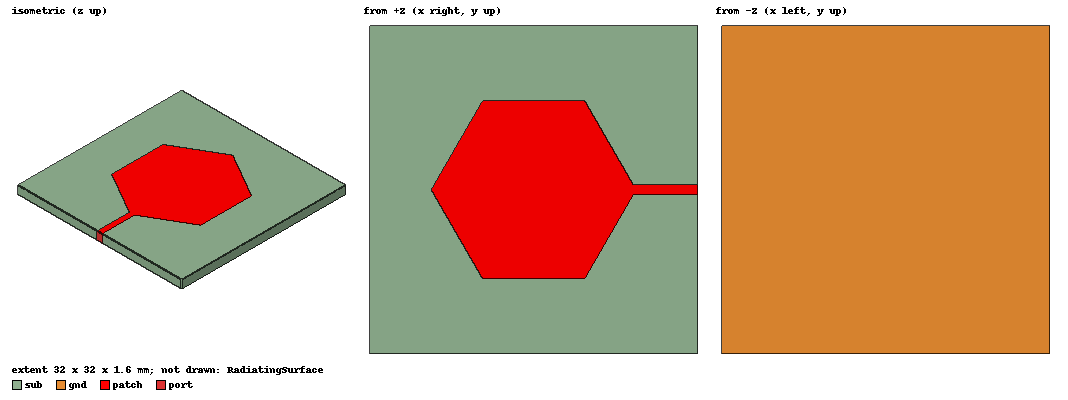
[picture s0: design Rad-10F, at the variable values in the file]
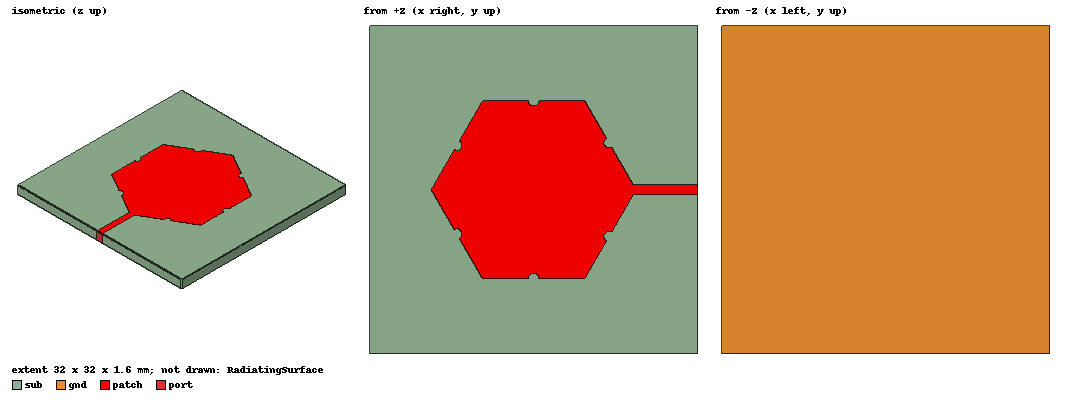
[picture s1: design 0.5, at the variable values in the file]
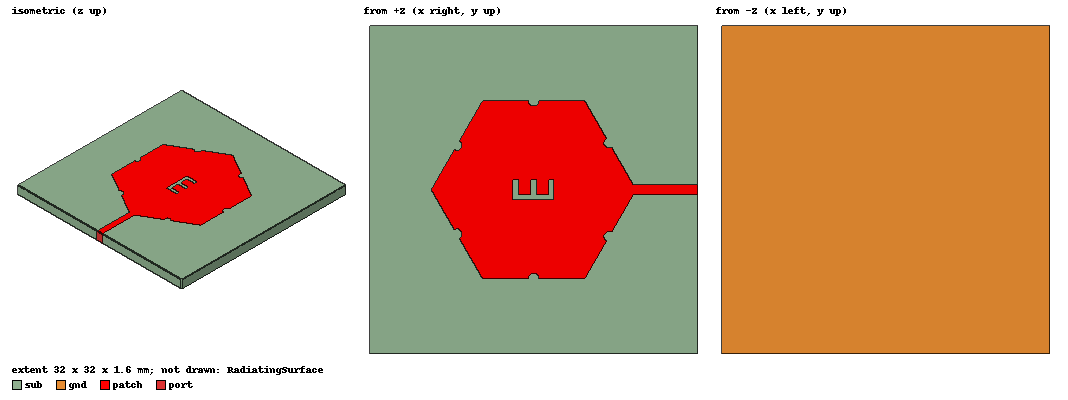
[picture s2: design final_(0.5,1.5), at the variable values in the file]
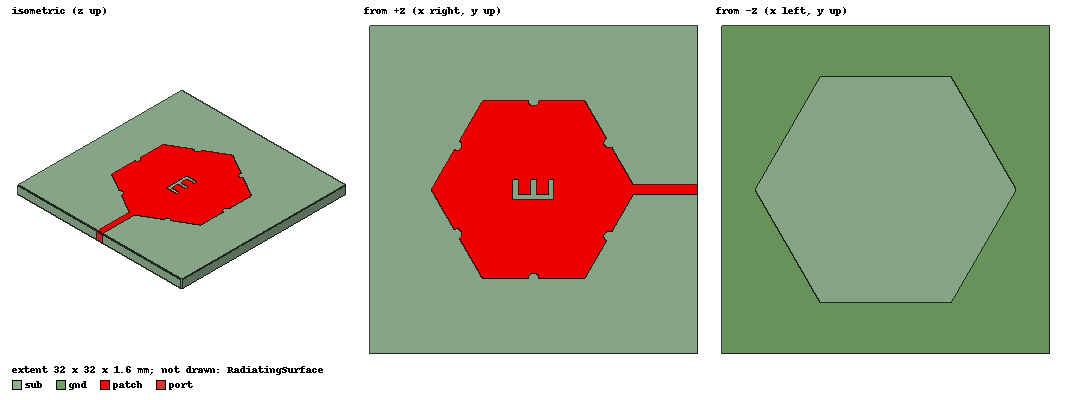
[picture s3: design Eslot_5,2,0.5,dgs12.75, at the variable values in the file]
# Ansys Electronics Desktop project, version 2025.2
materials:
  vacuum: permittivity=1
  FR4_epoxy: permittivity=4.4 dielectric_loss_tangent=0.02

design Rad-10F (HFSS, HFSS Modal Network, model units mm)
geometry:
  sub [FR4_epoxy] = box(corner=(0mm, 0mm, 0mm), size=(32mm, 32mm, 1.6mm))
  port = rectangle(corner=(32mm, 15.5mm, 1.6mm), y_size=1mm, z_size=-1.6mm)
  gnd = rectangle(corner=(0mm, 0mm, 0mm), x_size=32mm, y_size=32mm)
  patch = circle(normal=Z, centre=(16mm, 16mm, 1.6mm), radius=10mm, segments=6)
  feed = rectangle(corner=(32mm, 15.5mm, 1.6mm), x_size=-8mm, y_size=1mm)
  patch.unite(feed)
  RadiatingSurface [vacuum] = region(absolute_offset=20mm on all sides)
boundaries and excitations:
  PerfE3: Perfect E Objects=gnd
  PerfE4: Perfect E Objects=patch
  Open1: Radiation Objects=RadiatingSurface
  1: Lumped Port Objects=port LumpedPortType=Modal Modes{Mode1{IntLine{(32, 16, 0) -> (32, 16, 1.6)} CharImp=Zpi}} Impedance=50ohm
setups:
  Setup1: HfssDriven Frequency=5GHz MaxDeltaS=0.02 MaximumPasses=6 MinimumPasses=1 MinimumConvergedPasses=1 PercentRefinement=30 BasisOrder=1 PortAccuracy=2 DrivenSolverType="Direct Solver"
    sweep Sweep: 2.5GHz to 10GHz step 0.025GHz; Type=Fast SaveFields
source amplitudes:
  1:1: 1W 0deg
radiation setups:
  3D: Infinite Sphere Theta=0deg..180deg step 2deg Phi=-180deg..180deg step 2deg
  Elevation: Infinite Sphere Theta=-180deg..180deg step 1deg Phi=0deg..90deg step 90deg
  Azimuth: Infinite Sphere Theta=90deg..90deg step 0deg Phi=-180deg..180deg step 1deg
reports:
  S Parameter Plot1: dB(S(1,1)) vs Freq on Setup1 : Sweep; markers m1 at 4.375GHz, m2 at 7.1GHz, m3 at 8.35GHz, MY1 at y=-9.9994
  Gain Plot1: dB(GainTotal) vs Phi, Theta on Setup1 : Sweep, 3D [Freq=4.375GHz]
  Gain Plot2: dB(GainTotal) vs Phi, Theta on Setup1 : Sweep, 3D [Freq=7.1GHz]
  Gain Plot3: dB(GainTotal) vs Phi, Theta on Setup1 : Sweep, 3D [Freq=8.35GHz]

design 0.5 (HFSS, HFSS Modal Network, model units mm)
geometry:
  sub [FR4_epoxy] = box(corner=(0mm, 0mm, 0mm), size=(32mm, 32mm, 1.6mm))
  patch = circle(normal=Z, centre=(16mm, 16mm, 1.6mm), radius=10mm, segments=6)
  feed = rectangle(corner=(32mm, 15.5mm, 1.6mm), x_size=-8mm, y_size=1mm)
  patch.unite(feed)
  Circle1 = circle(normal=Z, centre=(16mm, 24.660254mm, 1.6mm), radius=0.5mm)
  Circle2 = circle(normal=Z, centre=(8.5mm, 20.330127mm, 1.6mm), radius=0.5mm)
  Circle3 = circle(normal=Z, centre=(8.5mm, 11.669873mm, 1.6mm), radius=0.5mm)
  Circle4 = circle(normal=Z, centre=(16mm, 7.339746mm, 1.6mm), radius=0.5mm)
  Circle5 = circle(normal=Z, centre=(23.355662mm, 11.419873mm, 1.6mm), radius=0.5mm)
  Circle6 = circle(normal=Z, centre=(23.355662mm, 20.580127mm, 1.6mm), radius=0.5mm)
  patch.subtract(Circle1..Circle6)
  gnd = rectangle(corner=(0mm, 0mm, 0mm), x_size=32mm, y_size=32mm)
  RadiatingSurface [vacuum] = region(absolute_offset=20mm on all sides)
  port = rectangle(corner=(32mm, 15.5mm, 1.6mm), y_size=1mm, z_size=-1.6mm)
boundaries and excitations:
  PerfE2: Perfect E Objects=patch
  PerfE3: Perfect E Objects=gnd
  Open1: Radiation Objects=RadiatingSurface
  1: Lumped Port Objects=port LumpedPortType=Modal Modes{Mode1{IntLine{(32, 16, 0) -> (32, 16, 1.6)} CharImp=Zpi}} Impedance=50ohm
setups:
  Setup1: HfssDriven Frequency=5GHz MaxDeltaS=0.02 MaximumPasses=6 MinimumPasses=1 MinimumConvergedPasses=1 PercentRefinement=30 BasisOrder=1 PortAccuracy=2 DrivenSolverType="Direct Solver"
    sweep Sweep: 2.5GHz to 10GHz step 0.025GHz; Type=Fast SaveFields
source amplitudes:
  1:1: 1W 0deg
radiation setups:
  3D: Infinite Sphere Theta=0deg..180deg step 2deg Phi=-180deg..180deg step 2deg
  Elevation: Infinite Sphere Theta=-180deg..180deg step 1deg Phi=0deg..90deg step 90deg
  Azimuth: Infinite Sphere Theta=90deg..90deg step 0deg Phi=-180deg..180deg step 1deg
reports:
  S Parameter Plot1: dB(S(1,1)) vs Freq on Setup1 : Sweep; markers m1 at 4.375GHz, m2 at 7.075GHz, m3 at 8.375GHz, MY1 at y=-9.99685
  Gain Plot1: dB(GainTotal) vs Phi, Theta on Setup1 : Sweep, 3D [Freq=4.375GHz]
  Gain Plot2: dB(GainTotal) vs Phi, Theta on Setup1 : Sweep, 3D [Freq=7.075GHz]
  Gain Plot3: dB(GainTotal) vs Phi, Theta on Setup1 : Sweep, 3D [Freq=8.375GHz]

design final_(0.5,1.5) (HFSS, HFSS Modal Network, model units mm)
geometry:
  patch = circle(normal=Z, centre=(16mm, 16mm, 1.6mm), radius=10mm, segments=6)
  feed = rectangle(corner=(32mm, 15.5mm, 1.6mm), x_size=-8mm, y_size=1mm)
  patch.unite(feed)
  Circle1 = circle(normal=Z, centre=(16mm, 24.660254mm, 1.6mm), radius=0.5mm)
  Circle2 = circle(normal=Z, centre=(8.5mm, 20.330127mm, 1.6mm), radius=0.5mm)
  Circle3 = circle(normal=Z, centre=(8.5mm, 11.669873mm, 1.6mm), radius=0.5mm)
  Circle4 = circle(normal=Z, centre=(16mm, 7.339746mm, 1.6mm), radius=0.5mm)
  Circle5 = circle(normal=Z, centre=(23.355662mm, 11.419873mm, 1.6mm), radius=0.5mm)
  Circle6 = circle(normal=Z, centre=(23.355662mm, 20.580127mm, 1.6mm), radius=0.5mm)
  patch.subtract(Circle1..Circle6)
  slot_rect1 = rectangle(corner=(14mm, 15mm, 1.6mm), x_size=4mm, y_size=0.5mm)
  slot_rect2 = rectangle(corner=(14mm, 15mm, 1.6mm), x_size=0.5mm, y_size=2mm)
  slot_rect3 = rectangle(corner=(15.75mm, 15mm, 1.6mm), x_size=0.5mm, y_size=2mm)
  slot_rect4 = rectangle(corner=(17.5mm, 15mm, 1.6mm), x_size=0.5mm, y_size=2mm)
  slot_rect1.unite(slot_rect2, slot_rect3, slot_rect4)
  patch.subtract(slot_rect1)
  gnd = rectangle(corner=(0mm, 0mm, 0mm), x_size=32mm, y_size=32mm)
  sub [FR4_epoxy] = box(corner=(0mm, 0mm, 0mm), size=(32mm, 32mm, 1.6mm))
  port = rectangle(corner=(32mm, 15.5mm, 1.6mm), y_size=1mm, z_size=-1.6mm)
  RadiatingSurface [vacuum] = region(absolute_offset=20mm on all sides)
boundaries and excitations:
  PerfE2: Perfect E Objects=patch
  PerfE3: Perfect E Objects=gnd
  Open1: Radiation Objects=RadiatingSurface
  1: Lumped Port Objects=port LumpedPortType=Modal Modes{Mode1{IntLine{(32, 16, 0) -> (32, 16, 1.6)} CharImp=Zpi}} Impedance=50ohm
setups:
  Setup1: HfssDriven Frequency=5GHz MaxDeltaS=0.02 MaximumPasses=6 MinimumPasses=1 MinimumConvergedPasses=1 PercentRefinement=30 BasisOrder=1 PortAccuracy=2 DrivenSolverType="Direct Solver"
    sweep Sweep: 2.5GHz to 10GHz step 0.025GHz; Type=Fast SaveFields
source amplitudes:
  1:1: 1W 0deg
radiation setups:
  3D: Infinite Sphere Theta=0deg..180deg step 2deg Phi=-180deg..180deg step 2deg
  Elevation: Infinite Sphere Theta=-180deg..180deg step 1deg Phi=0deg..90deg step 90deg
  Azimuth: Infinite Sphere Theta=90deg..90deg step 0deg Phi=-180deg..180deg step 1deg
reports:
  S Parameter Plot1: dB(S(1,1)) vs Freq on Setup1 : Sweep; markers m1 at 4.35GHz, m2 at 7.075GHz, m3 at 8.35GHz, MY1 at y=-10.0032
  Gain Plot1: dB(GainTotal) vs Phi, Theta on Setup1 : Sweep, 3D [Freq=4.35GHz]
  Gain Plot2: dB(GainTotal) vs Phi, Theta on Setup1 : Sweep, 3D [Freq=7.075GHz]
  Gain Plot3: dB(GainTotal) vs Phi, Theta on Setup1 : Sweep, 3D [Freq=8.35GHz]

design Eslot_5,2,0.5,dgs12.75 (HFSS, HFSS Modal Network, model units mm)
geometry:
  sub [FR4_epoxy] = box(corner=(0mm, 0mm, 0mm), size=(32mm, 32mm, 1.6mm))
  port = rectangle(corner=(32mm, 15.5mm, 1.6mm), y_size=1mm, z_size=-1.6mm)
  patch = circle(normal=Z, centre=(16mm, 16mm, 1.6mm), radius=10mm, segments=6)
  feed = rectangle(corner=(32mm, 15.5mm, 1.6mm), x_size=-8mm, y_size=1mm)
  patch.unite(feed)
  Circle1 = circle(normal=Z, centre=(16mm, 24.660254mm, 1.6mm), radius=0.5mm)
  Circle2 = circle(normal=Z, centre=(8.5mm, 20.330127mm, 1.6mm), radius=0.5mm)
  Circle3 = circle(normal=Z, centre=(8.5mm, 11.669873mm, 1.6mm), radius=0.5mm)
  Circle4 = circle(normal=Z, centre=(16mm, 7.339746mm, 1.6mm), radius=0.5mm)
  Circle5 = circle(normal=Z, centre=(23.355662mm, 11.419873mm, 1.6mm), radius=0.5mm)
  Circle6 = circle(normal=Z, centre=(23.355662mm, 20.580127mm, 1.6mm), radius=0.5mm)
  patch.subtract(Circle1..Circle6)
  slot_rect1 = rectangle(corner=(14mm, 15mm, 1.6mm), x_size=4mm, y_size=0.5mm)
  slot_rect2 = rectangle(corner=(14mm, 15mm, 1.6mm), x_size=0.5mm, y_size=2mm)
  slot_rect3 = rectangle(corner=(15.75mm, 15mm, 1.6mm), x_size=0.5mm, y_size=2mm)
  slot_rect4 = rectangle(corner=(17.5mm, 15mm, 1.6mm), x_size=0.5mm, y_size=2mm)
  slot_rect1.unite(slot_rect2, slot_rect3, slot_rect4)
  patch.subtract(slot_rect1)
  gnd = rectangle(corner=(0mm, 0mm, 0mm), x_size=32mm, y_size=32mm)
  dgs = circle(normal=Z, centre=(16mm, 16mm, 0mm), radius=12.75mm, segments=6)
  gnd.subtract(dgs)
  RadiatingSurface [vacuum] = region(absolute_offset=20mm on all sides)
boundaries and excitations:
  PerfE2: Perfect E Objects=patch
  PerfE3: Perfect E Objects=gnd
  Open1: Radiation Objects=RadiatingSurface
  1: Lumped Port Objects=port LumpedPortType=Modal Modes{Mode1{IntLine{(32, 16, 0) -> (32, 16, 1.6)} CharImp=Zpi}} Impedance=50ohm
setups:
  Setup1: HfssDriven Frequency=5GHz MaxDeltaS=0.02 MaximumPasses=6 MinimumPasses=1 MinimumConvergedPasses=1 PercentRefinement=30 BasisOrder=1 PortAccuracy=2 DrivenSolverType="Direct Solver"
    sweep Sweep: 2.5GHz to 11GHz step 0.025GHz; Type=Fast SaveFields
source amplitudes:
  1:1: 1W 0deg
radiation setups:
  3D: Infinite Sphere Theta=0deg..180deg step 2deg Phi=-180deg..180deg step 2deg
  Elevation: Infinite Sphere Theta=-180deg..180deg step 1deg Phi=0deg..90deg step 90deg
  Azimuth: Infinite Sphere Theta=90deg..90deg step 0deg Phi=-180deg..180deg step 1deg
  Infinite Sphere1: Infinite Sphere Theta=0deg..360deg step 3deg Phi=0deg..90deg step 90deg
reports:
  S Parameter Plot1: dB(S(1,1)) vs Freq on Setup1 : Sweep; markers m1 at 4.025GHz, m2 at 6.65GHz, MY1 at y=-9.99692
  Gain Plot1: dB(GainTotal) vs Phi, Theta on Setup1 : Sweep, 3D [Freq=4.025GHz]
  Gain Plot2: dB(GainTotal) vs Phi, Theta on Setup1 : Sweep, 3D [Freq=6.65GHz]
  Gain Plot3: dB(GainTotal) vs Theta on Setup1 : Sweep, Infinite Sphere1 [Phi=all Freq=4.025GHz]
